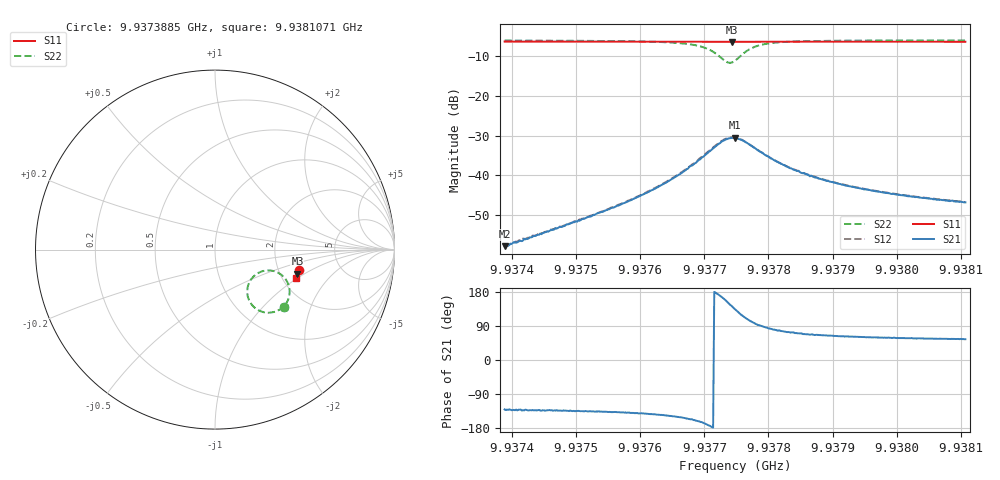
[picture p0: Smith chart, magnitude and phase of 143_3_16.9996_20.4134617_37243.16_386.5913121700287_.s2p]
#  HZ  S  RI  R  50.00
! Rohde & Schwarz Vector Network Analyzer
! Rohde-Schwarz,ZNB20-2Port,1311601062101988,3.16
! Created: UTC 3/20/2024, 10:58:26 PM
! freq[Hz]  re:S11  im:S11  re:S21  im:S21  re:S12  im:S12  re:S22  im:S22
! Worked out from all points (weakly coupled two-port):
!   401 points, 9.9373885 GHz to 9.9381071 GHz, reference 50 ohm
!   highest |S21| = -30.56 dB at 9.9377478 GHz (marker M1); lowest = -57.9 dB at 9.9373885 GHz (marker M2)
!   lowest |S11| = -6.4 dB at 9.9377424 GHz (marker M3), VSWR 2.83, Z = 124 - j43.1 ohm
!   |S11| at or under -10 dB: nowhere
!   |S22| runs from -11.7 to -6.0 dB; largest |S21 - S12| = 0.0015
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9.93738853e9  0.4699 -0.112  -0.000829 -0.000973  -0.00088 -0.000945  0.383 -0.3171
9.93750889e9  0.4672 -0.1203  -0.00196 -0.00197  -0.00202 -0.00198  0.3671 -0.3295
9.93758254e9  0.4655 -0.1253  -0.00358 -0.00315  -0.00371 -0.00308  0.349 -0.34
9.93762924e9  0.4643 -0.1285  -0.00587 -0.00421  -0.00605 -0.00418  0.3269 -0.348
9.93766876e9  0.4629 -0.1313  -0.0101 -0.00513  -0.0104 -0.00506  0.2899 -0.3516
9.93768672e9  0.4621 -0.1325  -0.0135 -0.00491  -0.014 -0.00477  0.2611 -0.3458
9.93770109e9  0.4612 -0.1335  -0.0176 -0.00373  -0.018 -0.00336  0.2298 -0.3303
9.93771367e9  0.4603 -0.134  -0.0217 -0.000513  -0.0225 -2.61e-05  0.1992 -0.2991
9.93772624e9  0.4594 -0.1341  -0.0256 0.00585  -0.026 0.00679  0.1797 -0.2415
9.93773522e9  0.4591 -0.134  -0.0256 0.0125  -0.0258 0.0137  0.1889 -0.1878
9.93774241e9  0.459 -0.1338  -0.0235 0.0178  -0.0231 0.0193  0.2158 -0.1486
9.9377478e9  0.4593 -0.1336  -0.0206 0.0213  -0.0197 0.0223  0.245 -0.1281
9.93775678e9  0.4597 -0.1337  -0.0141 0.0243  -0.0134 0.0249  0.2988 -0.1158
9.93776756e9  0.4603 -0.1343  -0.0075 0.024  -0.00644 0.0245  0.3514 -0.129
9.93777654e9  0.4606 -0.135  -0.00335 0.0223  -0.00263 0.0225  0.3799 -0.1495
9.93778732e9  0.4607 -0.136  -0.000247 0.0198  0.000418 0.0197  0.3999 -0.1747
9.93782324e9  0.4603 -0.1389  0.00334 0.013  0.0037 0.013  0.4157 -0.2342
9.93784121e9  0.4602 -0.1404  0.00378 0.011  0.00402 0.0111  0.4146 -0.2511
9.93786815e9  0.4595 -0.1423  0.00374 0.00898  0.00392 0.00888  0.4108 -0.2691
9.93792204e9  0.4582 -0.146  0.00345 0.00655  0.00362 0.00655  0.4023 -0.2898
9.93798851e9  0.4565 -0.1506  0.00308 0.00507  0.0032 0.00503  0.3939 -0.3041
9.93810706e9  0.4535 -0.1583  0.00262 0.00372  0.00271 0.00372  0.3828 -0.3195
